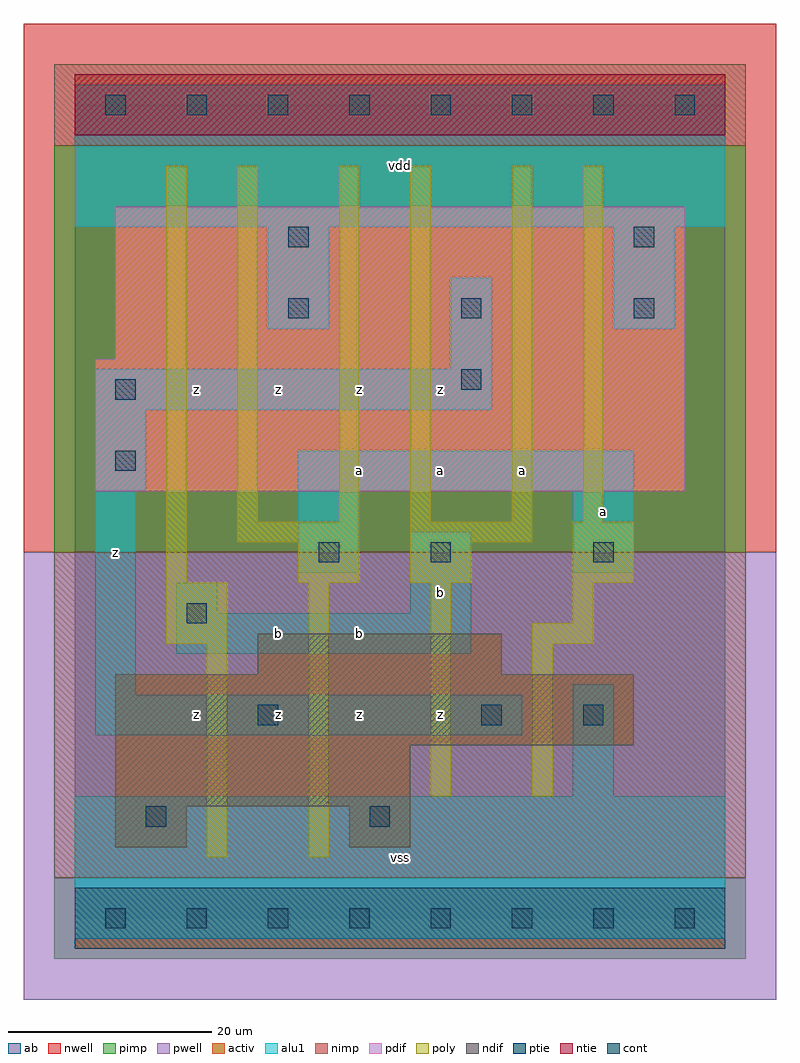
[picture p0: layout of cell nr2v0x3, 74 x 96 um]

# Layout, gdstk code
import gdstk
lib = gdstk.Library(unit=1e-6, precision=1e-09)
def R(c, l, rs):  # rectangles x0, y0, x1, y1
    for r in rs: c.add(gdstk.rectangle(r[:2], r[2:], *l))
def A(c, l, x, y, w, h, nx, ny, dx, dy):  # array of equal rectangles
    R(c, l, [(x+i*dx, y+j*dy, x+i*dx+w, y+j*dy+h) for i in range(nx) for j in range(ny)])
ndif = (3, 0)
pdif = (4, 0)
ntie = (5, 0)
ptie = (6, 0)
cont = (25, 0)
pwell = (41, 0)
nwell = (42, 0)
activ = (43, 0)
pimp = (44, 0)
nimp = (45, 0)
poly = (46, 0)
alu1 = (49, 0)
ab = (63, 0)

nr2v0x3 = lib.new_cell('nr2v0x3')
R(nr2v0x3, ndif, [(4,7,11,11), (27,7,33,11), (4,11,33,17), (4,17,55,24), (18,24,42,28)])
R(nr2v0x3, pdif, [(2,42,60,55), (4,55,60,70)])
R(nr2v0x3, ntie, [(0,77,64,83)])
R(nr2v0x3, ptie, [(0,-3,64,3)])
A(nr2v0x3, cont, 3, -1, 2, 2, 8, 2, 8, 80)
A(nr2v0x3, cont, 21, 59, 2, 2, 3, 1, 17, 0)
R(nr2v0x3, cont, [(7,9,9,11), (29,9,31,11), (18,19,20,21), (40,19,42,21), (50,19,52,21), (11,29,13,31), (24,35,26,37), (35,35,37,37), (51,35,53,37), (4,44,6,46), (4,51,6,53), (38,52,40,54), (21,66,23,68), (55,66,57,68)])
R(nr2v0x3, pwell, [(-5,-8,69,36)])
R(nr2v0x3, nwell, [(-5,36,69,88)])
R(nr2v0x3, activ, [(0,-3,64,3), (4,7,11,11), (27,7,33,11), (4,11,33,17), (4,17,55,24), (18,24,42,28), (2,42,60,55), (4,55,60,70), (0,77,64,83)])
R(nr2v0x3, pimp, [(-2,-4,66,4), (-2,36,66,76)])
R(nr2v0x3, nimp, [(-2,4,66,36), (-2,76,66,84)])
R(nr2v0x3, poly, [(13,6,15,27), (23,6,25,33), (35,12,37,33), (45,12,47,27), (9,27,15,33), (45,27,51,29), (49,29,51,33), (9,33,11,74), (22,33,28,37), (33,33,39,37), (49,33,55,39), (16,37,28,39), (33,37,45,39), (16,39,18,74), (26,39,28,74), (33,39,35,74), (43,39,45,74), (50,39,52,74)])
R(nr2v0x3, alu1, [(0,-2,64,12), (49,12,53,23), (2,18,44,22), (2,22,6,42), (10,26,39,30), (10,30,14,33), (33,30,39,38), (22,34,28,42), (49,34,55,42), (2,42,7,50), (22,42,55,46), (2,50,41,54), (37,54,41,63), (19,58,25,68), (53,58,59,68), (0,68,64,82)])
R(nr2v0x3, ab, [(0,0,64,80)])
nr2v0x3.add(gdstk.Label('z', (12,20), layer=49, texttype=0))
nr2v0x3.add(gdstk.Label('z', (4,36), layer=49, texttype=0))
nr2v0x3.add(gdstk.Label('z', (12,52), layer=49, texttype=0))
nr2v0x3.add(gdstk.Label('z', (20,20), layer=49, texttype=0))
nr2v0x3.add(gdstk.Label('z', (28,20), layer=49, texttype=0))
nr2v0x3.add(gdstk.Label('b', (20,28), layer=49, texttype=0))
nr2v0x3.add(gdstk.Label('b', (28,28), layer=49, texttype=0))
nr2v0x3.add(gdstk.Label('a', (28,44), layer=49, texttype=0))
nr2v0x3.add(gdstk.Label('z', (20,52), layer=49, texttype=0))
nr2v0x3.add(gdstk.Label('z', (28,52), layer=49, texttype=0))
nr2v0x3.add(gdstk.Label('vss', (32,6), layer=49, texttype=0))
nr2v0x3.add(gdstk.Label('z', (36,20), layer=49, texttype=0))
nr2v0x3.add(gdstk.Label('b', (36,32), layer=49, texttype=0))
nr2v0x3.add(gdstk.Label('a', (44,44), layer=49, texttype=0))
nr2v0x3.add(gdstk.Label('a', (36,44), layer=49, texttype=0))
nr2v0x3.add(gdstk.Label('z', (36,52), layer=49, texttype=0))
nr2v0x3.add(gdstk.Label('vdd', (32,74), layer=49, texttype=0))
nr2v0x3.add(gdstk.Label('a', (52,40), layer=49, texttype=0))

lib.write_gds('nr2v0x3.gds')
